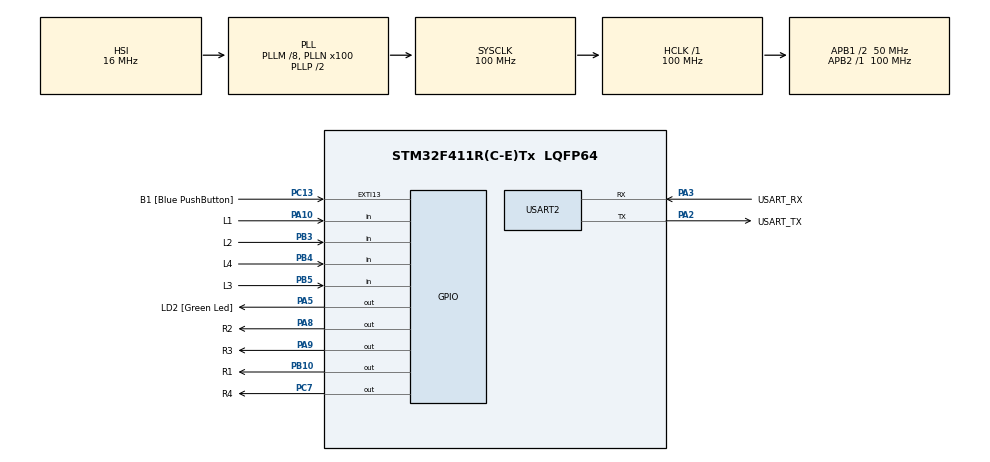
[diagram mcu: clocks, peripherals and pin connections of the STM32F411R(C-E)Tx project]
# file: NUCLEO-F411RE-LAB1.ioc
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Mcu.Family=STM32F4
Mcu.Name=STM32F411R(C-E)Tx
Mcu.Package=LQFP64
NVIC.PriorityGroup=NVIC_PRIORITYGROUP_0
PA10.GPIO_Label=L1
PA10.GPIO_PuPd=GPIO_PULLUP
PA10.Signal=GPIO_Input
PA13.GPIO_Label=TMS
PA13.Mode=Serial_Wire
PA13.Signal=SYS_JTMS-SWDIO
PA14.GPIO_Label=TCK
PA14.Mode=Serial_Wire
PA14.Signal=SYS_JTCK-SWCLK
PA2.GPIO_Label=USART_TX
PA2.Mode=Asynchronous
PA2.Signal=USART2_TX
PA3.GPIO_Label=USART_RX
PA3.Mode=Asynchronous
PA3.Signal=USART2_RX
PA5.GPIO_Label=LD2 [Green Led]
PA5.Signal=GPIO_Output
PA8.GPIO_Label=R2
PA8.GPIO_ModeDefaultOutputPP=GPIO_MODE_OUTPUT_OD
PA8.GPIO_PuPd=GPIO_NOPULL
PA8.Signal=GPIO_Output
PA9.GPIO_Label=R3
PA9.GPIO_ModeDefaultOutputPP=GPIO_MODE_OUTPUT_OD
PA9.GPIO_PuPd=GPIO_NOPULL
PA9.Signal=GPIO_Output
PB10.GPIO_Label=R1
PB10.GPIO_ModeDefaultOutputPP=GPIO_MODE_OUTPUT_OD
PB10.GPIO_PuPd=GPIO_NOPULL
PB10.Signal=GPIO_Output
PB3.GPIO_Label=L2
PB3.GPIO_PuPd=GPIO_PULLUP
PB3.Signal=GPIO_Input
PB4.GPIO_Label=L4
PB4.GPIO_PuPd=GPIO_PULLUP
PB4.Signal=GPIO_Input
PB5.GPIO_Label=L3
PB5.GPIO_PuPd=GPIO_PULLUP
PB5.Signal=GPIO_Input
PC13-ANTI_TAMP.GPIO_Label=B1 [Blue PushButton]
PC13-ANTI_TAMP.GPIO_ModeDefaultEXTI=GPIO_MODE_IT_FALLING
PC13-ANTI_TAMP.Signal=GPXTI13
PC14-OSC32_IN.Mode=LSE-External-Oscillator
PC14-OSC32_IN.Signal=RCC_OSC32_IN
PC15-OSC32_OUT.Mode=LSE-External-Oscillator
PC15-OSC32_OUT.Signal=RCC_OSC32_OUT
PC7.GPIO_Label=R4
PC7.GPIO_ModeDefaultOutputPP=GPIO_MODE_OUTPUT_OD
PC7.GPIO_PuPd=GPIO_NOPULL
PC7.Signal=GPIO_Output
PH0\ -\ OSC_IN.Mode=HSE-External-Clock-Source
PH0\ -\ OSC_IN.Signal=RCC_OSC_IN
PH1\ -\ OSC_OUT.Mode=HSE-External-Clock-Source
PH1\ -\ OSC_OUT.Signal=RCC_OSC_OUT
ProjectManager.HeapSize=0x200
ProjectManager.StackSize=0x400
ProjectManager.TargetToolchain=STM32CubeIDE
RCC.48MHZClocksFreq_Value=50000000
RCC.AHBFreq_Value=100000000
RCC.APB1CLKDivider=RCC_HCLK_DIV2
RCC.APB1Freq_Value=50000000
RCC.APB1TimFreq_Value=100000000
RCC.APB2Freq_Value=100000000
RCC.APB2TimFreq_Value=100000000
RCC.CortexFreq_Value=100000000
RCC.FLatency-AdvancedSettings=FLASH_LATENCY_3
RCC.HCLKFreq_Value=100000000
RCC.HSE_VALUE=8000000
RCC.HSI_VALUE=16000000
RCC.PLLM=8
RCC.PLLN=100
RCC.SYSCLKFreq_VALUE=100000000
RCC.SYSCLKSource=RCC_SYSCLKSOURCE_PLLCLK
RCC.VCOOutputFreq_Value=200000000
USART2.VirtualMode=VM_ASYNC
board=NUCLEO-F411RE

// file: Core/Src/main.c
/* USER CODE BEGIN Header */
/**
  ******************************************************************************
  * @file           : main.c
  * @brief          : Main program body
  ******************************************************************************
  * @attention
  *
  * Copyright (c) 2023 STMicroelectronics.
  * All rights reserved.
  *
  * This software is licensed under terms that can be found in the LICENSE file
  * in the root directory of this software component.
  * If no LICENSE file comes with this software, it is provided AS-IS.
  *
  ******************************************************************************
  */
/* USER CODE END Header */
#include "main.h"

/* USER CODE BEGIN Includes */
#include "math.h"
#include "string.h"
/* USER CODE END Includes */

UART_HandleTypeDef huart2;

/* USER CODE BEGIN PV */

struct GPIOState {
	GPIO_PinState Current;
	GPIO_PinState Previous;
};

struct GPIO_PortPin {
	GPIO_TypeDef *Port;
	uint16_t Pin;
};

/* USER CODE END PV */

void SystemClock_Config(void);
static void MX_GPIO_Init(void);
static void MX_USART2_UART_Init(void);
/* USER CODE BEGIN PFP */

int8_t HAL_GPIO_ReadDigit();
GPIO_PinState HAL_GPIO_CheckID(uint64_t CheckID);

/* USER CODE END PFP */

/* USER CODE BEGIN 0 */

struct GPIO_PortPin L[4] = {
		{L1_GPIO_Port, L1_Pin},
		{L2_GPIO_Port, L2_Pin},
		{L3_GPIO_Port, L3_Pin},
		{L4_GPIO_Port, L4_Pin}
};

struct GPIO_PortPin R[4] = {
		{R1_GPIO_Port, R1_Pin},
		{R2_GPIO_Port, R2_Pin},
		{R3_GPIO_Port, R3_Pin},
		{R4_GPIO_Port, R4_Pin}
};

struct GPIOState S[16] = {
		{GPIO_PIN_SET, GPIO_PIN_SET},
		{GPIO_PIN_SET, GPIO_PIN_SET},
		{GPIO_PIN_SET, GPIO_PIN_SET},
		{GPIO_PIN_SET, GPIO_PIN_SET},
		{GPIO_PIN_SET, GPIO_PIN_SET},
		{GPIO_PIN_SET, GPIO_PIN_SET},
		{GPIO_PIN_SET, GPIO_PIN_SET},
		{GPIO_PIN_SET, GPIO_PIN_SET},
		{GPIO_PIN_SET, GPIO_PIN_SET},
		{GPIO_PIN_SET, GPIO_PIN_SET},
		{GPIO_PIN_SET, GPIO_PIN_SET},
		{GPIO_PIN_SET, GPIO_PIN_SET},
		{GPIO_PIN_SET, GPIO_PIN_SET},
		{GPIO_PIN_SET, GPIO_PIN_SET},
		{GPIO_PIN_SET, GPIO_PIN_SET},
		{GPIO_PIN_SET, GPIO_PIN_SET}
};

char TxBuffer[20];
uint64_t ID = 0;

/* USER CODE END 0 */

int main(void)
{

  /* MCU Configuration--------------------------------------------------------*/

  /* Reset of all peripherals, Initializes the Flash interface and the Systick. */
  HAL_Init();

  /* Configure the system clock */
  SystemClock_Config();

  /* Initialize all configured peripherals */
  MX_GPIO_Init();
  MX_USART2_UART_Init();

  /* Infinite loop */
  /* USER CODE BEGIN WHILE */

  uint32_t TimeStamp = HAL_GetTick() + 20;

  while (1)
  {

	  if (HAL_GetTick() >= TimeStamp) {
		  HAL_GPIO_WritePin(LD2_GPIO_Port, LD2_Pin, HAL_GPIO_CheckID(64340500062));
		  TimeStamp += 20;
	  }

    /* USER CODE END WHILE */

  }
}

void SystemClock_Config(void)
{
  RCC_OscInitTypeDef RCC_OscInitStruct = {0};
  RCC_ClkInitTypeDef RCC_ClkInitStruct = {0};

  /** Configure the main internal regulator output voltage
  */
  __HAL_RCC_PWR_CLK_ENABLE();
  __HAL_PWR_VOLTAGESCALING_CONFIG(PWR_REGULATOR_VOLTAGE_SCALE1);

  /** Initializes the RCC Oscillators according to the specified parameters
  * in the RCC_OscInitTypeDef structure.
  */
  RCC_OscInitStruct.OscillatorType = RCC_OSCILLATORTYPE_HSI;
  RCC_OscInitStruct.HSIState = RCC_HSI_ON;
  RCC_OscInitStruct.HSICalibrationValue = RCC_HSICALIBRATION_DEFAULT;
  RCC_OscInitStruct.PLL.PLLState = RCC_PLL_ON;
  RCC_OscInitStruct.PLL.PLLSource = RCC_PLLSOURCE_HSI;
  RCC_OscInitStruct.PLL.PLLM = 8;
  RCC_OscInitStruct.PLL.PLLN = 100;
  RCC_OscInitStruct.PLL.PLLP = RCC_PLLP_DIV2;
  RCC_OscInitStruct.PLL.PLLQ = 4;
  if (HAL_RCC_OscConfig(&RCC_OscInitStruct) != HAL_OK)
  {
    Error_Handler();
  }

  /** Initializes the CPU, AHB and APB buses clocks
  */
  RCC_ClkInitStruct.ClockType = RCC_CLOCKTYPE_HCLK|RCC_CLOCKTYPE_SYSCLK
                              |RCC_CLOCKTYPE_PCLK1|RCC_CLOCKTYPE_PCLK2;
  RCC_ClkInitStruct.SYSCLKSource = RCC_SYSCLKSOURCE_PLLCLK;
  RCC_ClkInitStruct.AHBCLKDivider = RCC_SYSCLK_DIV1;
  RCC_ClkInitStruct.APB1CLKDivider = RCC_HCLK_DIV2;
  RCC_ClkInitStruct.APB2CLKDivider = RCC_HCLK_DIV1;

  if (HAL_RCC_ClockConfig(&RCC_ClkInitStruct, FLASH_LATENCY_3) != HAL_OK)
  {
    Error_Handler();
  }
}

static void MX_USART2_UART_Init(void)
{

  huart2.Instance = USART2;
  huart2.Init.BaudRate = 115200;
  huart2.Init.WordLength = UART_WORDLENGTH_8B;
  huart2.Init.StopBits = UART_STOPBITS_1;
  huart2.Init.Parity = UART_PARITY_NONE;
  huart2.Init.Mode = UART_MODE_TX_RX;
  huart2.Init.HwFlowCtl = UART_HWCONTROL_NONE;
  huart2.Init.OverSampling = UART_OVERSAMPLING_16;
  if (HAL_UART_Init(&huart2) != HAL_OK)
  {
    Error_Handler();
  }

}

static void MX_GPIO_Init(void)
{
  GPIO_InitTypeDef GPIO_InitStruct = {0};

  /* GPIO Ports Clock Enable */
  __HAL_RCC_GPIOC_CLK_ENABLE();
  __HAL_RCC_GPIOH_CLK_ENABLE();
  __HAL_RCC_GPIOA_CLK_ENABLE();
  __HAL_RCC_GPIOB_CLK_ENABLE();

  /*Configure GPIO pin Output Level */
  HAL_GPIO_WritePin(GPIOA, LD2_Pin|R2_Pin|R3_Pin, GPIO_PIN_RESET);

  /*Configure GPIO pin Output Level */
  HAL_GPIO_WritePin(R1_GPIO_Port, R1_Pin, GPIO_PIN_RESET);

  /*Configure GPIO pin Output Level */
  HAL_GPIO_WritePin(R4_GPIO_Port, R4_Pin, GPIO_PIN_RESET);

  /*Configure GPIO pin : B1_Pin */
  GPIO_InitStruct.Pin = B1_Pin;
  GPIO_InitStruct.Mode = GPIO_MODE_IT_FALLING;
  GPIO_InitStruct.Pull = GPIO_NOPULL;
  HAL_GPIO_Init(B1_GPIO_Port, &GPIO_InitStruct);

  /*Configure GPIO pin : LD2_Pin */
  GPIO_InitStruct.Pin = LD2_Pin;
  GPIO_InitStruct.Mode = GPIO_MODE_OUTPUT_PP;
  GPIO_InitStruct.Pull = GPIO_NOPULL;
  GPIO_InitStruct.Speed = GPIO_SPEED_FREQ_LOW;
  HAL_GPIO_Init(LD2_GPIO_Port, &GPIO_InitStruct);

  /*Configure GPIO pin : R1_Pin */
  GPIO_InitStruct.Pin = R1_Pin;
  GPIO_InitStruct.Mode = GPIO_MODE_OUTPUT_OD;
  GPIO_InitStruct.Pull = GPIO_NOPULL;
  GPIO_InitStruct.Speed = GPIO_SPEED_FREQ_LOW;
  HAL_GPIO_Init(R1_GPIO_Port, &GPIO_InitStruct);

  /*Configure GPIO pin : R4_Pin */
  GPIO_InitStruct.Pin = R4_Pin;
  GPIO_InitStruct.Mode = GPIO_MODE_OUTPUT_OD;
  GPIO_InitStruct.Pull = GPIO_NOPULL;
  GPIO_InitStruct.Speed = GPIO_SPEED_FREQ_LOW;
  HAL_GPIO_Init(R4_GPIO_Port, &GPIO_InitStruct);

  /*Configure GPIO pins : R2_Pin R3_Pin */
  GPIO_InitStruct.Pin = R2_Pin|R3_Pin;
  GPIO_InitStruct.Mode = GPIO_MODE_OUTPUT_OD;
  GPIO_InitStruct.Pull = GPIO_NOPULL;
  GPIO_InitStruct.Speed = GPIO_SPEED_FREQ_LOW;
  HAL_GPIO_Init(GPIOA, &GPIO_InitStruct);

  /*Configure GPIO pin : L1_Pin */
  GPIO_InitStruct.Pin = L1_Pin;
  GPIO_InitStruct.Mode = GPIO_MODE_INPUT;
  GPIO_InitStruct.Pull = GPIO_PULLUP;
  HAL_GPIO_Init(L1_GPIO_Port, &GPIO_InitStruct);

  /*Configure GPIO pins : L2_Pin L4_Pin L3_Pin */
  GPIO_InitStruct.Pin = L2_Pin|L4_Pin|L3_Pin;
  GPIO_InitStruct.Mode = GPIO_MODE_INPUT;
  GPIO_InitStruct.Pull = GPIO_PULLUP;
  HAL_GPIO_Init(GPIOB, &GPIO_InitStruct);

}

/* USER CODE BEGIN 4 */

int8_t HAL_GPIO_ReadDigit() {
	uint16_t Digit = 0;
	static int x = 0;

	register int y = 0;
	for (y = 0; y < 4; y++) {
		S[(4 * y) + x].Current = HAL_GPIO_ReadPin(L[y].Port, L[y].Pin);
		if (!S[(4 * y) + x].Current && S[(4 * y) + x].Previous) {
			Digit |= 1 << ((4 * y) + x);
			S[(4 * y) + x].Previous = S[(4 * y) + x].Current;
			break;
		}
		S[(4 * y) + x].Previous = S[(4 * y) + x].Current;
	}
	HAL_GPIO_WritePin(R[x].Port, R[x].Pin, GPIO_PIN_SET);
	HAL_GPIO_WritePin(R[(x + 1) % 4].Port, R[(x + 1) % 4].Pin, GPIO_PIN_RESET);
	x = (x + 1) % 4;

	switch (Digit) {
	case 0x0001: return 7;
	case 0x0002: return 8;
	case 0x0004: return 9;
	case 0x0008: return -1; //CLEAR
	case 0x0010: return 4;
	case 0x0020: return 5;
	case 0x0040: return 6;
	case 0x0080: return -2; //BACKSPACE
	case 0x0100: return 1;
	case 0x0200: return 2;
	case 0x0400: return 3;
	case 0x1000: return 0;
	case 0x8000: return -3; //OK
	default: 	 return -4; //NONE
	}

}

GPIO_PinState HAL_GPIO_CheckID(uint64_t CheckID) {
	static int8_t ID_digit = -4;

	if (ID_digit == -3) {
		ID_digit = HAL_GPIO_ReadDigit();
		if (ID_digit == -4) ID_digit = -3;
	} else {
		ID_digit = HAL_GPIO_ReadDigit();
	}

	switch (ID_digit) {
	case -1:
		ID = 0;
		break;
	case -2:
		ID /= 10;
		break;
	case -3:
		if (ID == CheckID) return GPIO_PIN_SET;
		break;
	case -4:
		break;
	default :
		ID = (ID * 10 + ID_digit) % 100000000000;
		break;
	}

	return GPIO_PIN_RESET;
}

/* USER CODE END 4 */

void Error_Handler(void)
{
  __disable_irq();
  while (1)
  {
  }
}
